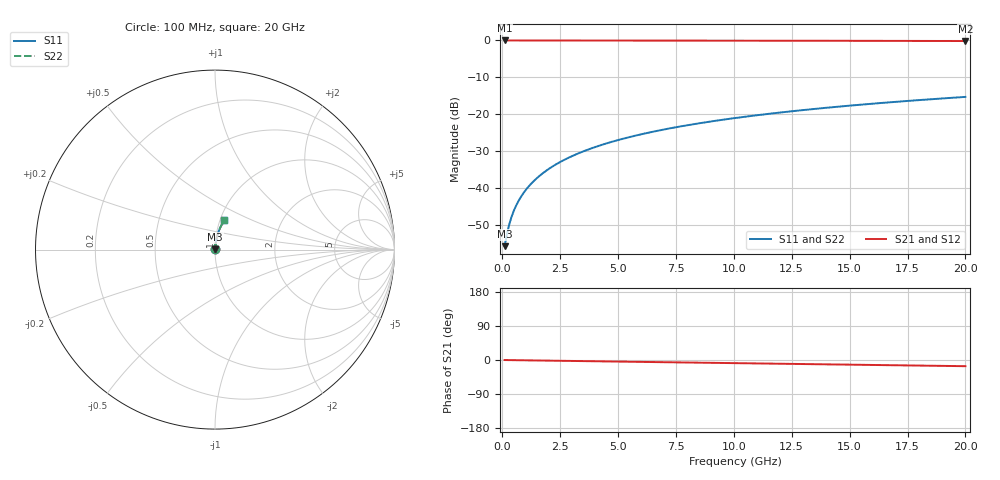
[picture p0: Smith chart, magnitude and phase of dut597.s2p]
! Touchstone file exported from HFSS 2026.1.0
!  File:  C:/ffzhzh/LocalFiles/Ansys_Project_Files/temp_train_TMRDL_597_1783008545_4048.aedt
!  Generated:  12:10:32 AM Jul  3, 2026
!  Design:  TMRDL
!  Project:  temp_train_TMRDL_597_1783008545_4048
! Variables:
!  h_bsmrdl = 2um
!  h_ox = 20um
!  h_rdl = 5um
!  h_sub = 80um
!  h_tmrdl = 2.44um
!  h_tsv = 80um
!  h_via = 3um
!  l_bsmrdl = 300um
!  l_sub = 582.17um
!  l_tmrdl = 182.17um
!  m_sub = 200um
!  pitch = 58.46um
!  r_tsv = 6um
!  s_tmrdl = 10um
!  w_bsmrdl = 18um
!  w_sub = 500um
!  w_tmrdl = 28.95um
!  x_tsv_center1 = 196.645um
!  x_tsv_center2 = 514.645um
!  x_tsv_center3 = 725.765um
!  x_tsv_center4 = 1043.765um
!  x_tsv_center5 = 1254.885um
!  x_tsv_center6 = 1572.885um
# GHz S MA R 50.000000
! Terminal data exported
! Port[1] = TM_RDL1_1_T1
! Port[2] = TM_RDL1_1_T2
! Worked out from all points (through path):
!   200 points, 100 MHz to 20 GHz, reference 50 ohm
!   highest |S21| = -0.01 dB at 100 MHz (marker M1); lowest = -0.2 dB at 20 GHz (marker M2)
!   group delay of S21, straight-line fit = 2.27 ps
!   lowest |S11| = -55.7 dB at 100 MHz (marker M3), VSWR 1.00, Z = 50.1 + j0.0983 ohm
!   |S11| at or under -10 dB: start of sweep to end of sweep
!   |S22| runs from -55.7 to -15.3 dB; largest |S21 - S12| = 5.4e-15
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0.1  0.001631 36.9  0.9987 -0.1  0.9987 -0.1  0.001631 36.9
! Gamma 0 0 0 0
! Port Impedance 50 0 50 0
0.2  0.002368 55.2  0.9987 -0.2  0.9987 -0.2  0.002368 55.2
0.3  0.003211 63.8  0.9986 -0.3  0.9986 -0.3  0.003211 63.8
0.4  0.004078 68.7  0.9985 -0.3  0.9985 -0.3  0.004078 68.7
0.5  0.004947 71.8  0.9985 -0.4  0.9985 -0.4  0.004947 71.8
0.6  0.005814 74.0  0.9984 -0.5  0.9984 -0.5  0.005814 74.0
0.8  0.007551 76.9  0.9983 -0.7  0.9983 -0.7  0.007551 76.9
1.1  0.01017 79.6  0.9983 -0.9  0.9983 -0.9  0.01017 79.6
1.3  0.01192 80.7  0.9982 -1.1  0.9982 -1.1  0.01192 80.7
1.6  0.01456 81.8  0.9982 -1.3  0.9982 -1.3  0.01456 81.8
2.1  0.01898 82.9  0.998 -1.8  0.998 -1.8  0.01898 82.9
2.7  0.0243 83.4  0.9979 -2.3  0.9979 -2.3  0.0243 83.4
3.5  0.0314 83.6  0.9976 -2.9  0.9976 -2.9  0.0314 83.6
4.2  0.03761 83.5  0.9973 -3.5  0.9973 -3.5  0.03761 83.5
5  0.04469 83.2  0.9969 -4.2  0.9969 -4.2  0.04469 83.2
5.9  0.05262 82.7  0.9964 -4.9  0.9964 -4.9  0.05262 82.7
6.8  0.06053 82.2  0.9959 -5.7  0.9959 -5.7  0.06053 82.2
8.3  0.07363 81.2  0.9948 -6.9  0.9948 -6.9  0.07363 81.2
10.1  0.08921 79.9  0.9932 -8.4  0.9932 -8.4  0.08921 79.9
13.4  0.1173 77.4  0.9898 -11.0  0.9898 -11.0  0.1173 77.4
16.7  0.1448 74.8  0.9857 -13.7  0.9857 -13.7  0.1448 74.8
20  0.1716 72.3  0.981 -16.3  0.981 -16.3  0.1716 72.3
